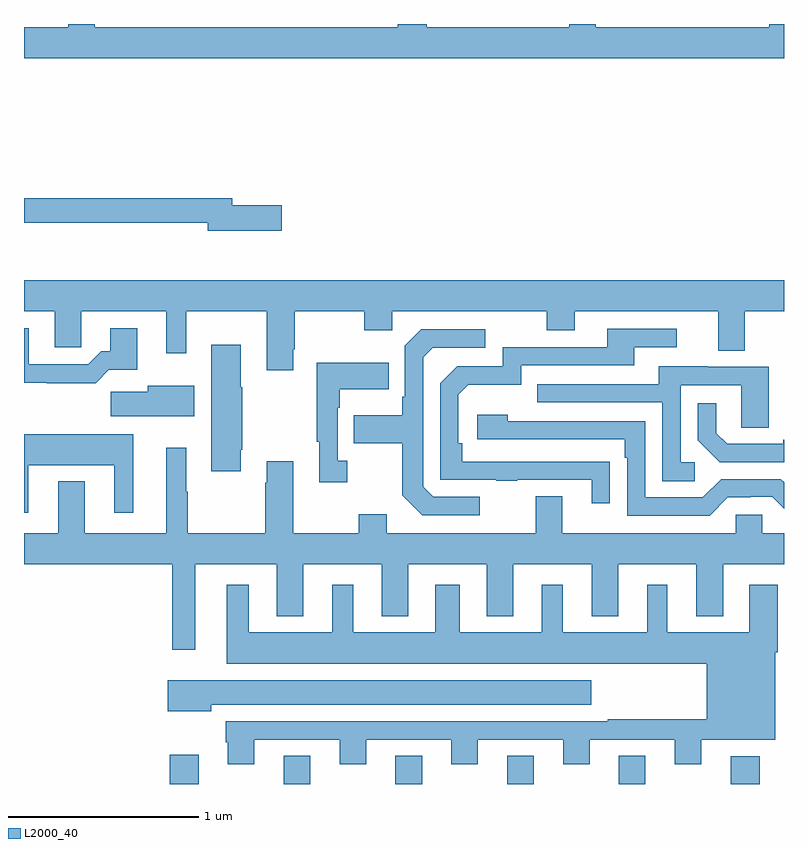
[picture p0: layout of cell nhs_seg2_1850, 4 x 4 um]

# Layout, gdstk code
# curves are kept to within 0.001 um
import gdstk
lib = gdstk.Library(unit=1e-6, precision=1e-09)
def R(c, l, rs):  # rectangles x0, y0, x1, y1
    for r in rs: c.add(gdstk.rectangle(r[:2], r[2:], *l))
def A(c, l, x, y, w, h, nx, ny, dx, dy):  # array of equal rectangles
    R(c, l, [(x+i*dx, y+j*dy, x+i*dx+w, y+j*dy+h) for i in range(nx) for j in range(ny)])
def P(c, l, *ps):  # polygons
    for p in ps: c.add(gdstk.Polygon(p, *l))
L2000_40 = (2000, 40)

nhs_seg2_1850 = lib.new_cell('nhs_seg2_1850')
A(nhs_seg2_1850, L2000_40, 208.367, 659.8, 0.14, 0.148, 4, 1, 0.588, 0)
R(nhs_seg2_1850, L2000_40, [(207.767,659.8,207.919,659.953), (210.719,659.8,210.872,659.947)])
P(nhs_seg2_1850, L2000_40, [(211,663.8),(210.923,663.8),(210.923,663.784),(210.009,663.784),(210.009,663.8),(209.871,663.8),(209.871,663.784),(209.119,663.784),(209.119,663.8),(208.967,663.8),(208.967,663.784),(207.373,663.784),(207.373,663.8),(207.233,663.8),(207.233,663.784),(207,663.784),(207,663.62),(211,663.62)],
  [(208.357,662.846),(208.096,662.846),(208.096,662.882),(207,662.882),(207,662.754),(207.968,662.754),(207.968,662.711),(208.357,662.711)],
  [(207,662.288),(207.161,662.288),(207.161,662.098),(207.3,662.098),(207.3,662.288),(207.749,662.288),(207.749,662.067),(207.853,662.067),(207.853,662.288),(208.277,662.288),(208.277,661.977),(208.417,661.977),(208.417,662.089),(208.425,662.089),(208.425,662.288),(208.792,662.288),(208.792,662.189),(208.938,662.189),(208.938,662.288),(209.752,662.288),(209.752,662.189),(209.899,662.189),(209.899,662.288),(210.653,662.288),(210.653,662.08),(210.793,662.08),(210.793,662.288),(211,662.288),(211,662.452),(207,662.452)],
  [(207.446,661.979),(207.595,661.979),(207.595,662.2),(207.455,662.2),(207.455,662.077),(207.406,662.077),(207.339,662.01),(207.025,662.01),(207.025,662.2),(207,662.2),(207,661.912),(207.121,661.912),(207.121,661.91),(207.377,661.91)],
  [(210.083,661.496),(209.306,661.497),(209.306,661.594),(209.286,661.594),(209.286,661.848),(209.339,661.901),(209.616,661.901),(209.616,662.004),(210.211,662.004),(210.211,662.1),(210.436,662.1),(210.436,662.196),(210.071,662.196),(210.071,662.1),(209.52,662.1),(209.52,661.998),(209.28,661.998),(209.19,661.908),(209.19,661.401),(209.485,661.401),(209.485,661.396),(209.597,661.396),(209.597,661.401),(209.987,661.401),(209.987,661.278),(210.083,661.278)],
  [(209.398,661.311),(209.154,661.311),(209.1,661.365),(209.1,662.046),(209.151,662.097),(209.428,662.097),(209.428,662.193),(209.091,662.193),(209.004,662.106),(209.004,661.837),(208.992,661.837),(208.992,661.741),(208.735,661.741),(208.735,661.594),(208.992,661.594),(208.992,661.321),(209.097,661.215),(209.398,661.215)],
  [(208.141,661.558),(208.149,661.558),(208.149,661.889),(208.141,661.889),(208.141,662.113),(207.986,662.113),(207.986,661.446),(208.141,661.446)],
  [(208.702,661.502),(208.65,661.502),(208.65,661.781),(208.663,661.781),(208.663,661.877),(208.919,661.877),(208.919,662.017),(208.542,662.017),(208.542,661.601),(208.553,661.601),(208.553,661.389),(208.702,661.389)],
  [(210.529,661.494),(210.456,661.494),(210.456,661.899),(210.774,661.899),(210.774,661.675),(210.919,661.675),(210.919,661.995),(210.595,661.995),(210.595,661.999),(210.341,661.999),(210.341,661.905),(209.701,661.905),(209.701,661.809),(210.36,661.809),(210.36,661.393),(210.529,661.393)],
  [(207.895,661.897),(207.65,661.897),(207.65,661.865),(207.456,661.865),(207.456,661.736),(207.895,661.736)],
  [(211,661.613),(210.995,661.613),(210.995,661.59),(210.7,661.59),(210.643,661.647),(210.643,661.804),(210.546,661.804),(210.546,661.61),(210.662,661.494),(211,661.494)],
  [(210.705,661.308),(210.824,661.308),(210.824,661.311),(210.939,661.311),(211,661.25),(211,661.388),(210.984,661.404),(210.669,661.404),(210.573,661.308),(210.27,661.308),(210.27,661.71),(209.546,661.71),(209.546,661.744),(209.385,661.744),(209.385,661.614),(210.161,661.614),(210.161,661.517),(210.174,661.517),(210.174,661.212),(210.609,661.212)],
  [(207.022,661.478),(207.476,661.478),(207.476,661.227),(207.574,661.227),(207.574,661.642),(207,661.642),(207,661.227),(207.022,661.227)],
  [(207.901,660.956),(208.331,660.956),(208.331,660.683),(208.471,660.683),(208.471,660.956),(208.883,660.956),(208.883,660.683),(209.023,660.683),(209.023,660.956),(209.435,660.956),(209.435,660.683),(209.575,660.683),(209.575,660.956),(209.987,660.956),(209.987,660.683),(210.127,660.683),(210.127,660.956),(210.539,660.956),(210.539,660.683),(210.679,660.683),(210.679,660.956),(211,660.956),(211,661.12),(210.885,661.12),(210.885,661.218),(210.747,661.218),(210.747,661.12),(209.833,661.12),(209.833,661.315),(209.693,661.315),(209.693,661.12),(208.909,661.12),(208.909,661.219),(208.762,661.219),(208.762,661.12),(208.417,661.12),(208.417,661.498),(208.277,661.498),(208.277,661.385),(208.27,661.385),(208.27,661.12),(207.863,661.12),(207.863,661.337),(207.853,661.337),(207.853,661.57),(207.749,661.57),(207.749,661.12),(207.319,661.12),(207.319,661.393),(207.179,661.393),(207.179,661.12),(207,661.12),(207,660.956),(207.78,660.956),(207.78,660.507),(207.901,660.507)],
  [(208.213,660.033),(208.661,660.033),(208.661,659.904),(208.801,659.904),(208.801,660.033),(209.249,660.033),(209.249,659.904),(209.389,659.904),(209.389,660.033),(209.837,660.033),(209.837,659.904),(209.977,659.904),(209.977,660.033),(210.425,660.033),(210.425,659.904),(210.565,659.904),(210.565,660.032),(210.955,660.032),(210.955,660.494),(210.968,660.494),(210.968,660.85),(210.818,660.85),(210.818,660.598),(210.385,660.598),(210.385,660.85),(210.281,660.85),(210.281,660.598),(209.836,660.598),(209.836,660.85),(209.726,660.85),(209.726,660.598),(209.293,660.598),(209.293,660.85),(209.165,660.85),(209.165,660.598),(208.732,660.598),(208.732,660.85),(208.622,660.85),(208.622,660.598),(208.183,660.598),(208.183,660.85),(208.067,660.85),(208.067,660.434),(210.593,660.434),(210.593,660.142),(210.073,660.142),(210.073,660.129),(208.061,660.129),(208.061,660.021),(208.073,660.021),(208.073,659.904),(208.213,659.904)],
  [(207.985,660.218),(209.986,660.218),(209.986,660.346),(207.756,660.346),(207.756,660.182),(207.985,660.182)])

lib.write_gds('nhs_seg2_1850.gds')
